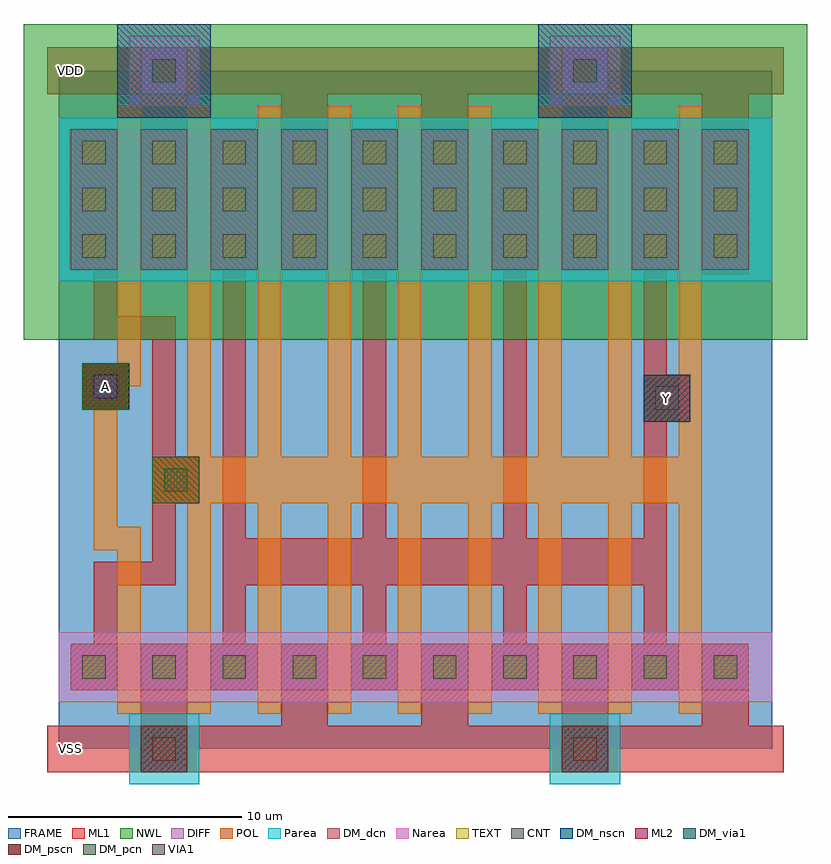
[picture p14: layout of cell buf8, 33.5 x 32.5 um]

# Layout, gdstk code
import gdstk
lib = gdstk.Library(unit=1e-6, precision=1e-09)
def R(c, l, rs):  # rectangles x0, y0, x1, y1
    for r in rs: c.add(gdstk.rectangle(r[:2], r[2:], *l))
NWL = (1, 0)
DIFF = (3, 0)
POL = (5, 0)
CNT = (7, 0)
ML1 = (8, 0)
VIA1 = (9, 0)
ML2 = (10, 0)
TEXT = (13, 0)
FRAME = (14, 0)
Parea = (18, 0)
Narea = (19, 0)
DM_dcn = (101, 0)
DM_pcn = (102, 0)
DM_nscn = (103, 0)
DM_pscn = (104, 0)
DM_via1 = (105, 0)

dcont = lib.new_cell('dcont')
R(dcont, DIFF, [(-1,-1,1,1)])
R(dcont, CNT, [(-0.5,-0.5,0.5,0.5)])
R(dcont, ML1, [(-1,-1,1,1)])
R(dcont, TEXT, [(-0.5,-0.5,0.5,0.5)])
R(dcont, DM_dcn, [(-1,-1,1,1)])
dcont.add(gdstk.Label('dcont', (0,0), layer=13, texttype=0))

psubcont = lib.new_cell('psubcont')
R(psubcont, Parea, [(-1.5,-1.5,1.5,1.5)])
R(psubcont, DM_pscn, [(-1,-1,1,1)])
psubcont.add(gdstk.Reference(dcont, (0,0)))
psubcont.add(gdstk.Label('PScon', (0,0), layer=13, texttype=0))

via = lib.new_cell('Via')
R(via, ML1, [(-1,-1,1,1)])
R(via, VIA1, [(-0.5,-0.5,0.5,0.5)])
R(via, ML2, [(-1,-1,1,1)])
R(via, TEXT, [(-0.5,-0.5,0.5,0.5)])
R(via, DM_via1, [(-1,-1,1,1)])
via.add(gdstk.Label('via', (0,0), layer=13, texttype=0))

pcont = lib.new_cell('pcont')
R(pcont, POL, [(-1,-1,1,1)])
R(pcont, CNT, [(-0.5,-0.5,0.5,0.5)])
R(pcont, ML1, [(-1,-1,1,1)])
R(pcont, DM_pcn, [(-1,-1,1,1)])
pcont.add(gdstk.Label('pcont', (0,0), layer=13, texttype=0))

nsubcont = lib.new_cell('nsubcont')
R(nsubcont, NWL, [(-2,-2,2,2)])
R(nsubcont, Narea, [(-1.5,-1.5,1.5,1.5)])
R(nsubcont, DM_nscn, [(-2,-2,2,2)])
nsubcont.add(gdstk.Reference(dcont, (0,0)))
nsubcont.add(gdstk.Label('NScont', (0,0), layer=13, texttype=0))

buf8 = lib.new_cell('buf8')
R(buf8, NWL, [(-1.5,17.5,32,31)])
R(buf8, DIFF, [(0.5,2.5,29.5,4.5), (0.5,20.5,29.5,26.5)])
R(buf8, ML1, [(-0.5,-1,31,1), (25,14,27,16), (1,14.5,3,16.5), (-0.5,28,31,30)])
R(buf8, ML2, [(25,14,27,16), (1,14.5,3,16.5)])
R(buf8, FRAME, [(0,0,30.5,29)])
R(buf8, Parea, [(0,20,30.5,27)])
R(buf8, Narea, [(0,2,30.5,5)])
R(buf8, DM_via1, [(25,14,27,16), (1,14.5,3,16.5)])
buf8.add(gdstk.FlexPath([(3,2),(3,9),(2,9),(2,16),(3,16),(3,27)], 1, ends="extended", simple_path=True, layer=5, datatype=0))  # POL
buf8.add(gdstk.FlexPath([(6,2),(6,27)], 1, ends="extended", simple_path=True, layer=5, datatype=0))  # POL
buf8.add(gdstk.FlexPath([(9,27),(9,2)], 1, ends="extended", simple_path=True, layer=5, datatype=0))  # POL
buf8.add(gdstk.FlexPath([(12,2),(12,27)], 1, ends="extended", simple_path=True, layer=5, datatype=0))  # POL
buf8.add(gdstk.FlexPath([(15,27),(15,2)], 1, ends="extended", simple_path=True, layer=5, datatype=0))  # POL
buf8.add(gdstk.FlexPath([(6,12),(27,12)], 1, ends="extended", simple_path=True, layer=5, datatype=0))  # POL
buf8.add(gdstk.FlexPath([(6,11),(27,11)], 1, ends="extended", simple_path=True, layer=5, datatype=0))  # POL
buf8.add(gdstk.FlexPath([(18,2),(18,27)], 1, ends="extended", simple_path=True, layer=5, datatype=0))  # POL
buf8.add(gdstk.FlexPath([(21,27),(21,2)], 1, ends="extended", simple_path=True, layer=5, datatype=0))  # POL
buf8.add(gdstk.FlexPath([(24,2),(24,27)], 1, ends="extended", simple_path=True, layer=5, datatype=0))  # POL
buf8.add(gdstk.FlexPath([(27,27),(27,2)], 1, ends="extended", simple_path=True, layer=5, datatype=0))  # POL
buf8.add(gdstk.FlexPath([(13.5,21.5),(13.5,25.5)], 1.4, ends="extended", simple_path=True, layer=8, datatype=0))  # ML1
buf8.add(gdstk.FlexPath([(1.5,22.3),(1.5,25.5)], 1.4, ends="extended", simple_path=True, layer=8, datatype=0))  # ML1
buf8.add(gdstk.FlexPath([(2,20.5),(2,18),(4.5,18),(4.5,7.5),(2,7.5),(2,3.5)], 1, ends="extended", simple_path=True, layer=8, datatype=0))  # ML1
buf8.add(gdstk.FlexPath([(4.5,21.5),(4.5,28.5)], 2, ends="extended", simple_path=True, layer=8, datatype=0))  # ML1
buf8.add(gdstk.FlexPath([(4.5,0.5),(4.5,3.5)], 2, ends="extended", simple_path=True, layer=8, datatype=0))  # ML1
buf8.add(gdstk.FlexPath([(7.5,21.5),(7.5,25.5)], 1.4, ends="extended", simple_path=True, layer=8, datatype=0))  # ML1
buf8.add(gdstk.FlexPath([(7.5,4),(7.5,20.5)], 1, ends="extended", simple_path=True, layer=8, datatype=0))  # ML1
buf8.add(gdstk.FlexPath([(10.5,0.5),(10.5,3.5)], 2, ends="extended", simple_path=True, layer=8, datatype=0))  # ML1
buf8.add(gdstk.FlexPath([(10.5,21.5),(10.5,28.5)], 2, ends="extended", simple_path=True, layer=8, datatype=0))  # ML1
buf8.add(gdstk.FlexPath([(10.5,22.3),(10.5,25.5)], 1.4, ends="extended", simple_path=True, layer=8, datatype=0))  # ML1
buf8.add(gdstk.FlexPath([(13.5,3.9),(13.5,20.5)], 1, ends="extended", simple_path=True, layer=8, datatype=0))  # ML1
buf8.add(gdstk.FlexPath([(16.5,21.6),(16.5,28.5)], 2, ends="extended", simple_path=True, layer=8, datatype=0))  # ML1
buf8.add(gdstk.FlexPath([(16.5,0.5),(16.5,3.5)], 2, ends="extended", simple_path=True, layer=8, datatype=0))  # ML1
buf8.add(gdstk.FlexPath([(7.5,7.5),(25.5,7.5)], 1, ends="extended", simple_path=True, layer=8, datatype=0))  # ML1
buf8.add(gdstk.FlexPath([(7.5,8.5),(25.5,8.5)], 1, ends="extended", simple_path=True, layer=8, datatype=0))  # ML1
buf8.add(gdstk.FlexPath([(19.5,21.5),(19.5,25.5)], 1.4, ends="extended", simple_path=True, layer=8, datatype=0))  # ML1
buf8.add(gdstk.FlexPath([(19.5,3.9),(19.5,20.5)], 1, ends="extended", simple_path=True, layer=8, datatype=0))  # ML1
buf8.add(gdstk.FlexPath([(22.5,22.3),(22.5,25.5)], 1.4, ends="extended", simple_path=True, layer=8, datatype=0))  # ML1
buf8.add(gdstk.FlexPath([(22.5,21.5),(22.5,28.5)], 2, ends="extended", simple_path=True, layer=8, datatype=0))  # ML1
buf8.add(gdstk.FlexPath([(22.5,0.5),(22.5,3.5)], 2, ends="extended", simple_path=True, layer=8, datatype=0))  # ML1
buf8.add(gdstk.FlexPath([(25.5,22.3),(25.5,25.5)], 1.4, ends="extended", simple_path=True, layer=8, datatype=0))  # ML1
buf8.add(gdstk.FlexPath([(25.5,3.9),(25.5,20.5)], 1, ends="extended", simple_path=True, layer=8, datatype=0))  # ML1
buf8.add(gdstk.FlexPath([(28.5,21.3),(28.5,28.5)], 2, ends="extended", simple_path=True, layer=8, datatype=0))  # ML1
buf8.add(gdstk.FlexPath([(28.5,0.5),(28.5,3.5)], 2, ends="extended", simple_path=True, layer=8, datatype=0))  # ML1
buf8.add(gdstk.Reference(dcont, (1.5,25.5)))
buf8.add(gdstk.Reference(dcont, (22.5,21.5)))
buf8.add(gdstk.Reference(dcont, (19.5,21.5)))
buf8.add(gdstk.Reference(dcont, (25.5,21.5)))
buf8.add(gdstk.Reference(dcont, (10.5,25.5)))
buf8.add(gdstk.Reference(dcont, (28.5,23.5)))
buf8.add(gdstk.Reference(dcont, (19.5,3.5)))
buf8.add(gdstk.Reference(dcont, (10.5,23.5)))
buf8.add(gdstk.Reference(dcont, (7.5,25.5)))
buf8.add(gdstk.Reference(dcont, (25.5,3.5)))
buf8.add(gdstk.Reference(dcont, (4.5,25.5)))
buf8.add(gdstk.Reference(dcont, (4.5,23.5)))
buf8.add(gdstk.Reference(dcont, (10.5,3.5)))
buf8.add(gdstk.Reference(dcont, (16.5,3.5)))
buf8.add(gdstk.Reference(psubcont, (4.5,0)))
buf8.add(gdstk.Reference(dcont, (28.5,21.5)))
buf8.add(gdstk.Reference(dcont, (22.5,25.5)))
buf8.add(gdstk.Reference(dcont, (7.5,3.5)))
buf8.add(gdstk.Reference(dcont, (13.5,21.5)))
buf8.add(gdstk.Reference(via, (26,15)))
buf8.add(gdstk.Reference(dcont, (19.5,23.5)))
buf8.add(gdstk.Reference(dcont, (25.5,23.5)))
buf8.add(gdstk.Reference(dcont, (13.5,3.5)))
buf8.add(gdstk.Reference(dcont, (16.5,21.5)))
buf8.add(gdstk.Reference(dcont, (19.5,25.5)))
buf8.add(gdstk.Reference(dcont, (1.5,23.5)))
buf8.add(gdstk.Reference(pcont, (5,11.5)))
buf8.add(gdstk.Reference(dcont, (28.5,3.5)))
buf8.add(gdstk.Reference(dcont, (1.5,21.5)))
buf8.add(gdstk.Reference(dcont, (4.5,3.5)))
buf8.add(gdstk.Reference(dcont, (1.5,3.5)))
buf8.add(gdstk.Reference(dcont, (7.5,23.5)))
buf8.add(gdstk.Reference(dcont, (7.5,21.5)))
buf8.add(gdstk.Reference(dcont, (10.5,21.5)))
buf8.add(gdstk.Reference(dcont, (13.5,23.5)))
buf8.add(gdstk.Reference(nsubcont, (22.5,29)))
buf8.add(gdstk.Reference(nsubcont, (4.5,29)))
buf8.add(gdstk.Reference(dcont, (4.5,21.5)))
buf8.add(gdstk.Reference(dcont, (16.5,25.5)))
buf8.add(gdstk.Reference(dcont, (16.5,23.5)))
buf8.add(gdstk.Reference(dcont, (22.5,3.5)))
buf8.add(gdstk.Reference(dcont, (28.5,25.5)))
buf8.add(gdstk.Reference(dcont, (25.5,25.5)))
buf8.add(gdstk.Reference(via, (2,15.5)))
buf8.add(gdstk.Reference(dcont, (13.5,25.5)))
buf8.add(gdstk.Reference(dcont, (22.5,23.5)))
buf8.add(gdstk.Reference(psubcont, (22.5,0)))
buf8.add(gdstk.Reference(pcont, (2,15.5)))
buf8.add(gdstk.Label('VDD', (0.5,29), layer=8, texttype=0))
buf8.add(gdstk.Label('VSS', (0.5,0), layer=8, texttype=0))
buf8.add(gdstk.Label('A', (2,15.5), layer=10, texttype=0))
buf8.add(gdstk.Label('Y', (26,15), layer=10, texttype=0))
buf8.add(gdstk.Label('via', (26,15), layer=13, texttype=0))
buf8.add(gdstk.Label('via', (2,15.5), layer=13, texttype=0))

lib.write_gds('buf8.gds')
